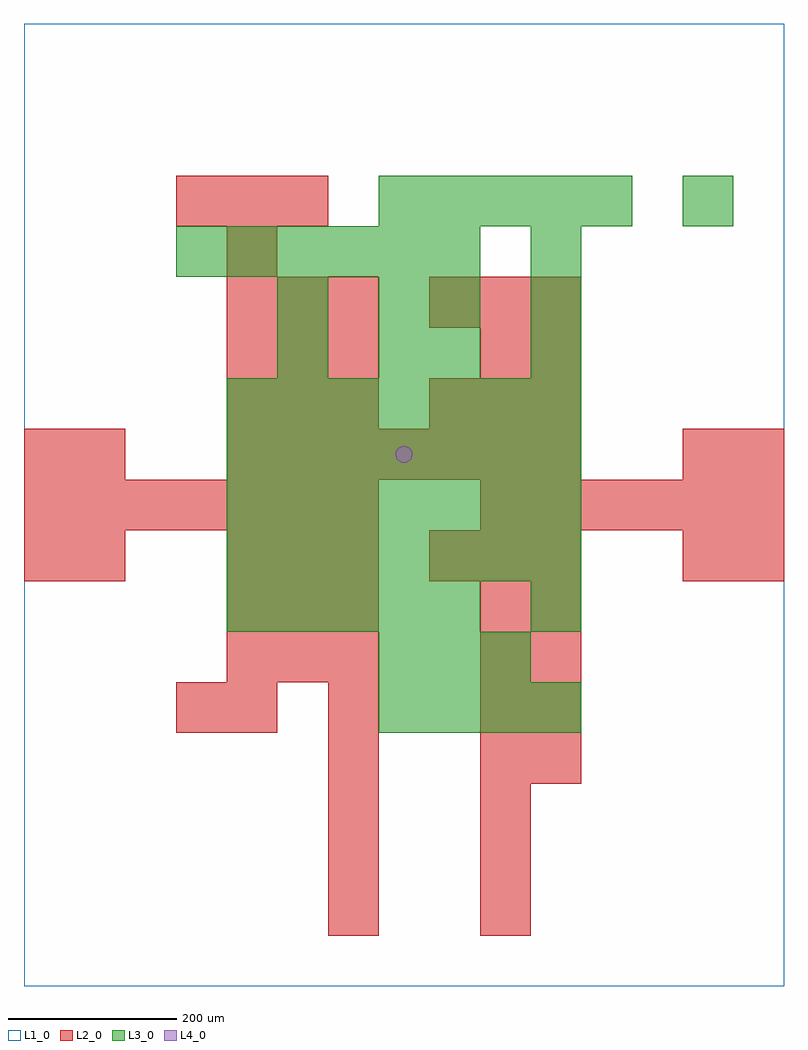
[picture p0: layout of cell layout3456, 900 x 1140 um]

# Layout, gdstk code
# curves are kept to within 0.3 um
import gdstk
lib = gdstk.Library(unit=1e-6, precision=1e-09)
def R(c, l, rs):  # rectangles x0, y0, x1, y1
    for r in rs: c.add(gdstk.rectangle(r[:2], r[2:], *l))
def A(c, l, x, y, w, h, nx, ny, dx, dy):  # array of equal rectangles
    R(c, l, [(x+i*dx, y+j*dy, x+i*dx+w, y+j*dy+h) for i in range(nx) for j in range(ny)])
def P(c, l, *ps):  # polygons
    for p in ps: c.add(gdstk.Polygon(p, *l))
L1_0 = (1, 0)
L2_0 = (2, 0)
L3_0 = (3, 0)
L4_0 = (4, 0)

layout3456 = lib.new_cell('layout3456')
R(layout3456, L1_0, [(0,0,900,1140)])
A(layout3456, L2_0, 360, 60, 60, 60, 1, 5, 0, 60)
A(layout3456, L2_0, 540, 60, 60, 60, 1, 7, 0, 60)
A(layout3456, L2_0, 600, 240, 60, 60, 1, 4, 0, 60)
A(layout3456, L2_0, 240, 360, 60, 60, 3, 3, 60, 60)
A(layout3456, L2_0, 480, 480, 60, 60, 3, 2, 60, 180)
A(layout3456, L2_0, 0, 540, 60, 60, 7, 1, 60, 0)
A(layout3456, L2_0, 540, 540, 60, 60, 6, 1, 60, 0)
A(layout3456, L2_0, 240, 600, 60, 60, 7, 1, 60, 0)
A(layout3456, L2_0, 240, 660, 60, 60, 3, 3, 60, 60)
A(layout3456, L2_0, 480, 780, 60, 60, 3, 1, 60, 0)
A(layout3456, L2_0, 180, 900, 60, 60, 3, 1, 60, 0)
R(layout3456, L2_0, [(180,300,240,360), (240,300,300,360), (0,480,60,540), (60,480,120,540), (780,480,840,540), (840,480,900,540), (0,600,60,660), (60,600,120,660), (780,600,840,660), (840,600,900,660), (540,720,600,780), (600,720,660,780), (240,840,300,900)])
A(layout3456, L3_0, 420, 300, 60, 60, 4, 1, 60, 0)
A(layout3456, L3_0, 420, 360, 60, 60, 3, 1, 60, 0)
A(layout3456, L3_0, 240, 420, 60, 60, 5, 1, 60, 0)
A(layout3456, L3_0, 240, 480, 60, 60, 7, 4, 60, 60)
A(layout3456, L3_0, 600, 720, 60, 60, 1, 3, 0, 60)
A(layout3456, L3_0, 180, 840, 60, 60, 6, 1, 60, 0)
A(layout3456, L3_0, 420, 900, 60, 60, 5, 1, 60, 0)
R(layout3456, L3_0, [(600,420,660,480), (300,720,360,780), (420,720,480,780), (480,720,540,780), (300,780,360,840), (420,780,480,840), (480,780,540,840), (780,900,840,960)])
P(layout3456, L4_0, [(460,630),(459.239,633.827),(457.071,637.071),(453.827,639.239),(450,640),(446.173,639.239),(442.929,637.071),(440.761,633.827),(440,630),(440.761,626.173),(442.929,622.929),(446.173,620.761),(450,620),(453.827,620.761),(457.071,622.929),(459.239,626.173)])

lib.write_gds('layout3456.gds')
